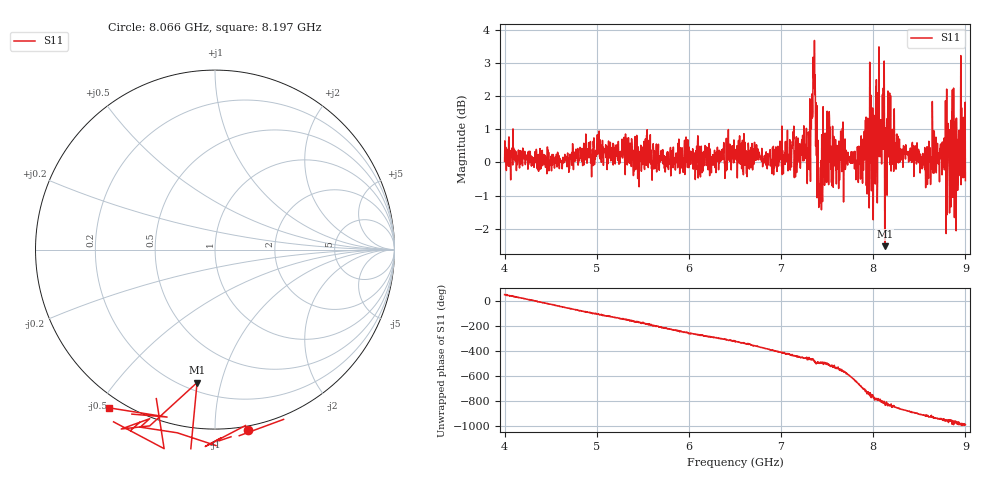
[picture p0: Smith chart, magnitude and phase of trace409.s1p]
! Created with skrf 1.8.0 (http://scikit-rf.org).
# Hz S RI R 50.0
!freq ReS11 ImS11
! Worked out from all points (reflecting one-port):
!   1601 points, 4 GHz to 9 GHz, reference 50 ohm
!   lowest |S11| = -2.5 dB at 8.125 GHz (marker M1), VSWR 6.92, Z = 12.5 - j42.1 ohm
!   phase of S11 starts at 52 deg and turns -1044 deg over the sweep
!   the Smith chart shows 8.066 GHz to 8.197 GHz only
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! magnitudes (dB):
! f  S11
! 4 GHz  0.0
! 4.625 GHz  -0.2
! 5.25 GHz  0.0
! 5.875 GHz  0.2
! 6.5 GHz  0.1
! 7.125 GHz  0.6
! 7.294 GHz  0.1
! 7.347 GHz  3.2
! 7.362 GHz  3.7
! 7.4 GHz  0.7
! 7.428 GHz  -0.4
! 7.509 GHz  0.4
! 7.609 GHz  0.1
! 7.669 GHz  0.2
! 7.75 GHz  0.0
! 7.838 GHz  -0.6
! 8.05 GHz  2.1
! 8.066 GHz  0.2
! 8.097 GHz  0.7
! 8.125 GHz  -2.5
! 8.178 GHz  2.1
! 8.216 GHz  0.7
! 8.375 GHz  0.3
! 8.812 GHz  1.2
! 8.834 GHz  1.0
! 8.906 GHz  0.5
! 8.972 GHz  0.7
! 9 GHz  -0.5
